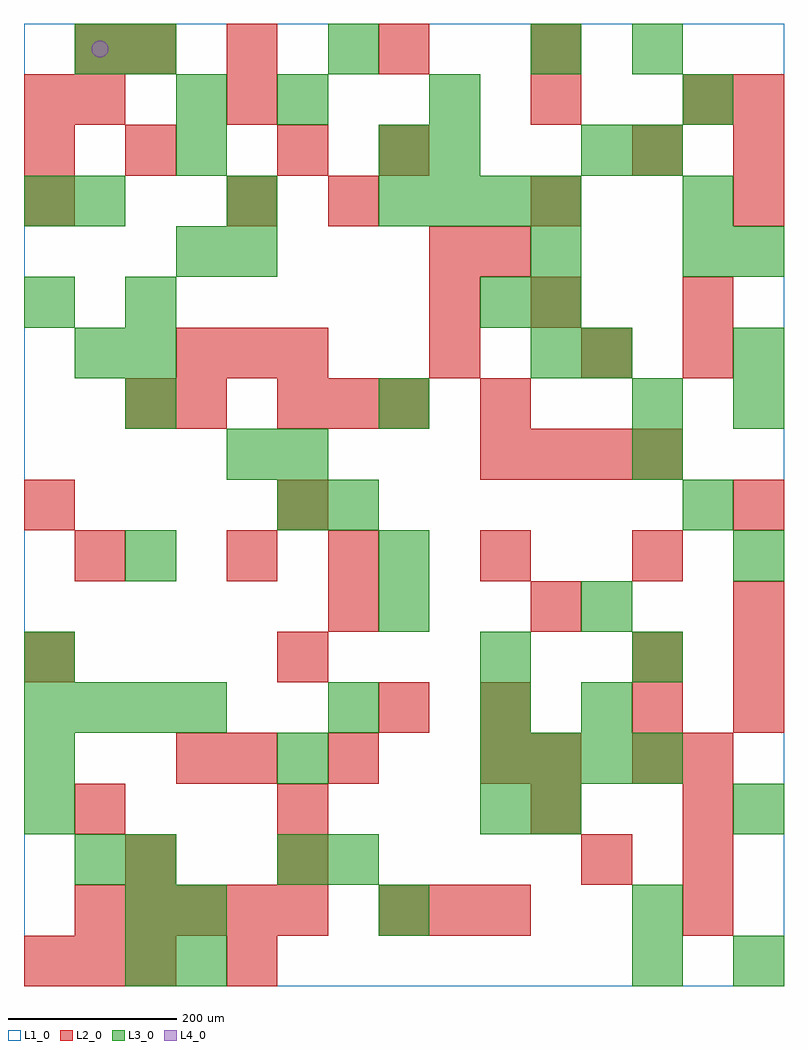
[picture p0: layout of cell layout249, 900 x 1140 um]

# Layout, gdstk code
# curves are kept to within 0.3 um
import gdstk
lib = gdstk.Library(unit=1e-6, precision=1e-09)
def R(c, l, rs):  # rectangles x0, y0, x1, y1
    for r in rs: c.add(gdstk.rectangle(r[:2], r[2:], *l))
def A(c, l, x, y, w, h, nx, ny, dx, dy):  # array of equal rectangles
    R(c, l, [(x+i*dx, y+j*dy, x+i*dx+w, y+j*dy+h) for i in range(nx) for j in range(ny)])
def P(c, l, *ps):  # polygons
    for p in ps: c.add(gdstk.Polygon(p, *l))
L1_0 = (1, 0)
L2_0 = (2, 0)
L3_0 = (3, 0)
L4_0 = (4, 0)

layout249 = lib.new_cell('layout249')
R(layout249, L1_0, [(0,0,900,1140)])
A(layout249, L2_0, 0, 0, 60, 60, 3, 1, 60, 0)
A(layout249, L2_0, 240, 0, 60, 60, 1, 3, 0, 240)
A(layout249, L2_0, 60, 60, 60, 60, 5, 1, 60, 0)
A(layout249, L2_0, 420, 60, 60, 60, 3, 1, 60, 0)
A(layout249, L2_0, 780, 60, 60, 60, 1, 4, 0, 60)
A(layout249, L2_0, 300, 180, 60, 60, 1, 3, 0, 180)
A(layout249, L2_0, 720, 240, 60, 60, 1, 3, 0, 60)
A(layout249, L2_0, 360, 420, 60, 60, 3, 2, 240, 480)
A(layout249, L2_0, 360, 480, 60, 60, 3, 1, 180, 0)
A(layout249, L2_0, 540, 600, 60, 60, 4, 1, 60, 0)
A(layout249, L2_0, 300, 660, 60, 60, 3, 1, 60, 0)
A(layout249, L2_0, 180, 720, 60, 60, 3, 1, 60, 0)
A(layout249, L2_0, 480, 720, 60, 60, 1, 3, 0, 60)
A(layout249, L2_0, 0, 900, 60, 60, 1, 3, 0, 60)
A(layout249, L2_0, 240, 1080, 60, 60, 3, 1, 180, 0)
R(layout249, L2_0, [(120,120,180,180), (300,120,360,180), (660,120,720,180), (60,180,120,240), (600,180,660,240), (180,240,240,300), (360,240,420,300), (540,240,600,300), (600,240,660,300), (420,300,480,360), (540,300,600,360), (840,300,900,360), (0,360,60,420), (840,360,900,420), (60,480,120,540), (0,540,60,600), (840,540,900,600), (120,660,180,720), (180,660,240,720), (540,660,600,720), (660,720,720,780), (780,720,840,780), (600,780,660,840), (780,780,840,840), (540,840,600,900), (240,900,300,960), (120,960,180,1020), (300,960,360,1020), (420,960,480,1020), (720,960,780,1020), (840,960,900,1020), (60,1020,120,1080), (240,1020,300,1080), (600,1020,660,1080), (780,1020,840,1080), (840,1020,900,1080), (60,1080,120,1140), (120,1080,180,1140)])
A(layout249, L3_0, 120, 0, 60, 60, 1, 3, 0, 60)
A(layout249, L3_0, 540, 240, 60, 60, 4, 1, 60, 0)
A(layout249, L3_0, 0, 300, 60, 60, 4, 1, 60, 0)
A(layout249, L3_0, 120, 660, 60, 60, 3, 1, 300, 0)
A(layout249, L3_0, 600, 720, 60, 60, 1, 3, 0, 60)
A(layout249, L3_0, 60, 900, 60, 60, 3, 1, 180, 0)
A(layout249, L3_0, 480, 900, 60, 60, 3, 1, 60, 0)
A(layout249, L3_0, 120, 1080, 60, 60, 3, 1, 240, 0)
R(layout249, L3_0, [(180,0,240,60), (720,0,780,60), (840,0,900,60), (180,60,240,120), (420,60,480,120), (720,60,780,120), (60,120,120,180), (300,120,360,180), (360,120,420,180), (0,180,60,240), (540,180,600,240), (600,180,660,240), (840,180,900,240), (0,240,60,300), (300,240,360,300), (360,300,420,360), (540,300,600,360), (660,300,720,360), (0,360,60,420), (540,360,600,420), (720,360,780,420), (420,420,480,480), (660,420,720,480), (120,480,180,540), (420,480,480,540), (840,480,900,540), (300,540,360,600), (360,540,420,600), (780,540,840,600), (240,600,300,660), (300,600,360,660), (720,600,780,660), (840,660,900,720), (60,720,120,780), (120,720,180,780), (660,720,720,780), (840,720,900,780), (0,780,60,840), (120,780,180,840), (540,780,600,840), (180,840,240,900), (240,840,300,900), (780,840,840,900), (840,840,900,900), (0,900,60,960), (780,900,840,960), (180,960,240,1020), (420,960,480,1020), (480,960,540,1020), (660,960,720,1020), (720,960,780,1020), (180,1020,240,1080), (300,1020,360,1080), (480,1020,540,1080), (780,1020,840,1080), (60,1080,120,1140), (720,1080,780,1140)])
P(layout249, L4_0, [(100,1110),(99.239,1113.827),(97.071,1117.071),(93.827,1119.239),(90,1120),(86.173,1119.239),(82.929,1117.071),(80.761,1113.827),(80,1110),(80.761,1106.173),(82.929,1102.929),(86.173,1100.761),(90,1100),(93.827,1100.761),(97.071,1102.929),(99.239,1106.173)])

lib.write_gds('layout249.gds')
